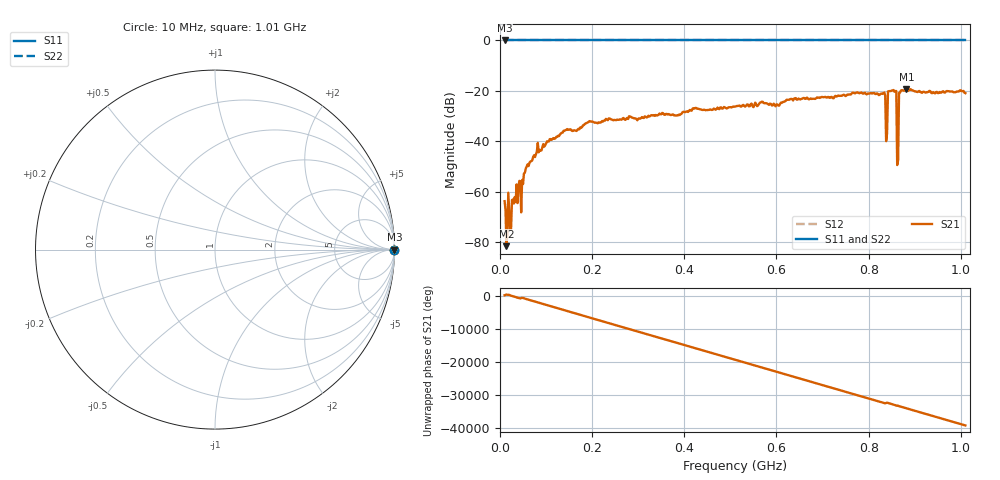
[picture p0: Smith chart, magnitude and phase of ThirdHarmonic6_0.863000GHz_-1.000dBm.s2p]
! 8/16/2025 4:31:41 AM
! C:\ANRITSUVNA\TEMP\TEMP.S2P
! CHANNEL.1
! TR.MEASUREMENT
! RAW.DATA
! RF.CORRECTION.OFF
! AVERAGING.OFF
! IF.BANDWIDTH: 5KHZ
! SWEEPTYPE:  FREQ.SWEEP(Linear)
! Reference Plane Port Info
! PORT:  PORT1  PORT2
! DISTANCE:  0  m  0  m
! TIME:  0  s  0  s
! PHASE.OFFSET:  0  deg.  0  deg.
! LOSS:  0  dB  0  dB
! REF.LOSS:  0  dB  0  dB
! REF.FREQ:  0  Hz  0  Hz
! Power Info
! POWER:  -20  dBm  -20  dBm
! EFF.POWER:  -20  dBm  -20  dBm
! SOURCE.ATTEN:  0  dB  0  dB
! TEST.ATTEN:  0  dB  0  dB
# GHZ S RI R 50.0
! FREQ.GHZ  S11RE  S11IM  S21RE  S21IM  S12RE  S12IM  S22RE  S22IM
!; PortSelection: Port_12
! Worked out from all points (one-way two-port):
!   501 points, 10 MHz to 1.01 GHz, reference 50 ohm
!   highest |S21| = -19.31 dB at 882 MHz (marker M1); lowest = -81.5 dB at 14 MHz (marker M2)
!   lowest |S11| = 0.0 dB at 10 MHz (marker M3)
!   |S11| at or under -10 dB: nowhere
!   |S22| runs from 0.0 to 0.0 dB; largest |S21 - S12| = 1.1
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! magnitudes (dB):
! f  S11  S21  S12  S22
! 10 MHz  0.0  -63.7  0.0  0.0
! 14 MHz  0.0  -81.5  0.0  0.0
! 18 MHz  0.0  -60.3  0.0  0.0
! 40 MHz  0.0  -58.3  0.0  0.0
! 42 MHz  0.0  -55.6  0.0  0.0
! 56 MHz  0.0  -50.7  0.0  0.0
! 78 MHz  0.0  -45.1  0.0  0.0
! 178 MHz  0.0  -34.3  0.0  0.0
! 344 MHz  0.0  -29.5  0.0  0.0
! 510 MHz  0.0  -26.2  0.0  0.0
! 678 MHz  0.0  -23.1  0.0  0.0
! 830 MHz  0.0  -21.2  0.0  0.0
! 836 MHz  0.0  -21.9  0.0  0.0
! 842 MHz  0.0  -20.2  0.0  0.0
! 844 MHz  0.0  -20.1  0.0  0.0
! 846 MHz  0.0  -20.0  0.0  0.0
! 856 MHz  0.0  -20.3  0.0  0.0
! 860 MHz  0.0  -20.0  0.0  0.0
! 866 MHz  0.0  -20.8  0.0  0.0
! 870 MHz  0.0  -19.9  0.0  0.0
! 882 MHz  0.0  -19.3  0.0  0.0
! 1.01 GHz  0.0  -20.9  0.0  0.0
